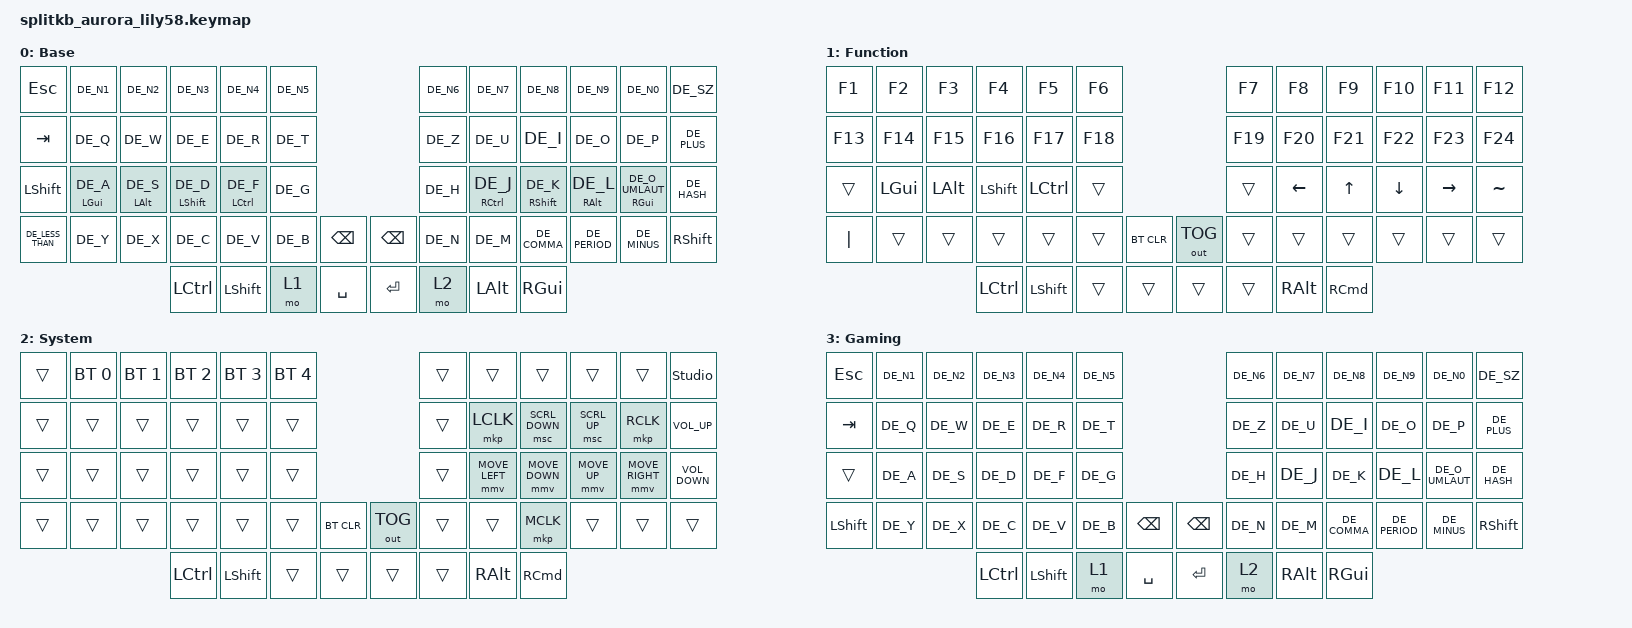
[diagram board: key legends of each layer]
/*
 * Copyright (c) 2022 The ZMK Contributors
 *
 * SPDX-License-Identifier: MIT
 */

#include <behaviors.dtsi>
#include <dt-bindings/zmk/bt.h>
#include <dt-bindings/zmk/keys.h>
#include <dt-bindings/zmk/outputs.h>
#include <dt-bindings/zmk/pointing.h>
#include "keys_de.h"

/ {
    behaviors {
        HRM_Left: HRM_Left {
            compatible = "zmk,behavior-hold-tap";
            label = "HRM_LEFT";
            bindings = <&kp>, <&kp>;

            #binding-cells = <2>;
            flavor = "balanced";
            tapping-term-ms = <280>;
            quick-tap-ms = <175>;
            require-prior-idle-ms = <150>;
            hold-trigger-on-release;
            hold-trigger-key-positions = <6 7 8 9 11 6 7 8 9 10 11 18 19 20 21 22 23 30 31 32 33 34 35 43 44 45 46 47 48 49 54 55 56 57>;
        };

        HRM_Right: HRM_Right {
            compatible = "zmk,behavior-hold-tap";
            label = "HRM_RIGHT";
            bindings = <&kp>, <&kp>;

            #binding-cells = <2>;
            flavor = "balanced";
            tapping-term-ms = <280>;
            quick-tap-ms = <175>;
            require-prior-idle-ms = <150>;
            hold-trigger-on-release;
            hold-trigger-key-positions = <0 1 2 3 4 5 12 13 14 15 16 17 24 25 26 27 28 29 36 37 38 39 40 41 42 50 51 52 53>;
        };
    };

    combos {
        compatible = "zmk,combos";

        sys_layer {
            bindings = <&to 3>;
            key-positions = <52 55>;
            layers = <0>;
        };

        default_layer {
            bindings = <&to 0>;
            key-positions = <52 55>;
            layers = <3>;
        };

        escape {
            bindings = <&kp ESCAPE>;
            key-positions = <25 26 27>;
        };

        a_umlaut {
            bindings = <&kp DE_A_UMLAUT>;
            key-positions = <25 15>;
        };

        u_umlaut {
            bindings = <&kp DE_U_UMLAUT>;
            key-positions = <19 15>;
        };

        o_umlaut {
            bindings = <&kp DE_O_UMLAUT>;
            key-positions = <21 15>;
        };
    };

    keymap {
        compatible = "zmk,keymap";

        default_layer {
            // ------------------------------------------------------------------------------------------------------------
            // |  ESC  |  1  |  2  |  3   |  4   |  5   |                   |  6   |  7    |  8    |  9   |   0   |   `   |
            // |  TAB  |  Q  |  W  |  E   |  R   |  T   |                   |  Y   |  U    |  I    |  O   |   P   |   -   |
            // |  CTRL |  A  |  S  |  D   |  F   |  G   |                   |  H   |  J    |  K    |  L   |   ;   |   '   |
            // | SHIFT |  Z  |  X  |  C   |  V   |  B   |   "["  |  |  "]"  |  N   |  M    |  ,    |  .   |   /   | SHIFT |
            //                     | ALT  | GUI  | LOWER|  SPACE |  | ENTER | RAISE| BSPC  | GUI   |

            bindings = <
&kp ESC           &kp DE_N1                &kp DE_N2                &kp DE_N3                  &kp DE_N4             &kp DE_N5                                  &kp DE_N6  &kp DE_N7              &kp DE_N8                    &kp DE_N9                  &kp DE_N0                         &kp DE_SZ
&kp TAB           &kp DE_Q                 &kp DE_W                 &kp DE_E                   &kp DE_R              &kp DE_T                                   &kp DE_Z   &kp DE_U               &kp DE_I                     &kp DE_O                   &kp DE_P                          &kp DE_PLUS
&kp LEFT_SHIFT    &HRM_Left LEFT_GUI DE_A  &HRM_Left LEFT_ALT DE_S  &HRM_Left LEFT_SHIFT DE_D  &HRM_Left LCTRL DE_F  &kp DE_G                                   &kp DE_H   &HRM_Right RCTRL DE_J  &HRM_Right RIGHT_SHIFT DE_K  &HRM_Right RIGHT_ALT DE_L  &HRM_Right RIGHT_GUI DE_O_UMLAUT  &kp DE_HASH
&kp DE_LESS_THAN  &kp DE_Y                 &kp DE_X                 &kp DE_C                   &kp DE_V              &kp DE_B   &kp BACKSPACE    &kp BACKSPACE  &kp DE_N   &kp DE_M               &kp DE_COMMA                 &kp DE_PERIOD              &kp DE_MINUS                      &kp RSHFT
                                                                    &kp LEFT_CONTROL           &kp LEFT_SHIFT        &mo 1      &kp SPACE        &kp RET        &mo 2      &kp LEFT_ALT           &kp RGUI
            >;

            label = "Base";
        };

        lower_layer {
            // ------------------------------------------------------------------------------------------------------------
            // | BTCLR | BT1 | BT2 |  BT3 |  BT4 |  BT5 |                   |      |       |       |      |       |       |
            // |  F1   |  F2 |  F3 |  F4  |  F5  |  F6  |                   |  F7  |  F8   |  F9   |  F10 |  F11  |  F12  |
            // |   `   |  !  |  @  |  #   |  $   |  %   |                   |  ^   |  &    |  *    |  (   |   )   |   ~   |
            // |       |     |     |      |      |      |        |  |       |      |  _    |  +    |  {   |   }   |  "|"  |
            //                     |      |      |      |        |  |       |      |       |       |

            bindings = <
&kp F1    &kp F2    &kp F3    &kp F4     &kp F5          &kp F6                               &kp F7   &kp F8          &kp F9             &kp F10         &kp F11          &kp F12
&kp F13   &kp F14   &kp F15   &kp F16    &kp F17         &kp F18                              &kp F19  &kp F20         &kp F21            &kp F22         &kp F23          &kp F24
&trans    &kp LGUI  &kp LALT  &kp LSHFT  &kp LCTRL       &trans                               &trans   &kp LEFT_ARROW  &kp UP_ARROW       &kp DOWN_ARROW  &kp RIGHT_ARROW  &kp TILDE
&kp PIPE  &trans    &trans    &trans     &trans          &trans   &bt BT_CLR    &out OUT_TOG  &trans   &trans          &trans             &trans          &trans           &trans
                              &kp LCTRL  &kp LEFT_SHIFT  &trans   &trans        &trans        &trans   &kp RIGHT_ALT   &kp RIGHT_COMMAND
            >;

            label = "Function";
        };

        raise_layer {
            // ------------------------------------------------------------------------------------------------------------
            // |       |     |     |      |      |      |                   |      |       |       |      |       |       |
            // |   `   |  1  |  2  |  3   |  4   |  5   |                   |  6   |   7   |   8   |  9   |   0   |       |
            // |   F1  |  F2 |  F3 |  F4  |  F5  |  F6  |                   |      |   <-  |   v   |  ^   |  ->   |       |
            // |   F7  |  F8 |  F9 |  F10 |  F11 |  F12 |        |  |       |  +   |   -   |   =   |  [   |   ]   |   \   |
            //                     |      |      |      |        |  |       |      |       |       |

            bindings = <
&trans  &bt BT_SEL 0  &bt BT_SEL 1  &bt BT_SEL 2  &bt BT_SEL 3    &bt BT_SEL 4                              &trans  &trans          &trans             &trans        &trans           &studio_unlock
&trans  &trans        &trans        &trans        &trans          &trans                                    &trans  &mkp LCLK       &msc SCRL_DOWN     &msc SCRL_UP  &mkp RCLK        &kp K_VOLUME_UP
&trans  &trans        &trans        &trans        &trans          &trans                                    &trans  &mmv MOVE_LEFT  &mmv MOVE_DOWN     &mmv MOVE_UP  &mmv MOVE_RIGHT  &kp K_VOLUME_DOWN
&trans  &trans        &trans        &trans        &trans          &trans        &bt BT_CLR    &out OUT_TOG  &trans  &trans          &mkp MCLK          &trans        &trans           &trans
                                    &kp LCTRL     &kp LEFT_SHIFT  &trans        &trans        &trans        &trans  &kp RIGHT_ALT   &kp RIGHT_COMMAND
            >;

            label = "System";
        };

        Gaming {
            bindings = <
&kp ESC         &kp DE_N1  &kp DE_N2  &kp DE_N3  &kp DE_N4       &kp DE_N5                                  &kp DE_N6  &kp DE_N7      &kp DE_N8     &kp DE_N9      &kp DE_N0        &kp DE_SZ
&kp TAB         &kp DE_Q   &kp DE_W   &kp DE_E   &kp DE_R        &kp DE_T                                   &kp DE_Z   &kp DE_U       &kp DE_I      &kp DE_O       &kp DE_P         &kp DE_PLUS
&trans          &kp DE_A   &kp DE_S   &kp DE_D   &kp DE_F        &kp DE_G                                   &kp DE_H   &kp DE_J       &kp DE_K      &kp DE_L       &kp DE_O_UMLAUT  &kp DE_HASH
&kp LEFT_SHIFT  &kp DE_Y   &kp DE_X   &kp DE_C   &kp DE_V        &kp DE_B   &kp BACKSPACE    &kp BACKSPACE  &kp DE_N   &kp DE_M       &kp DE_COMMA  &kp DE_PERIOD  &kp DE_MINUS     &kp RSHFT
                                      &kp LCTRL  &kp LEFT_SHIFT  &mo 1      &kp SPACE        &kp RET        &mo 2      &kp RIGHT_ALT  &kp RGUI
            >;

            label = "Gaming";
        };
    };
};
